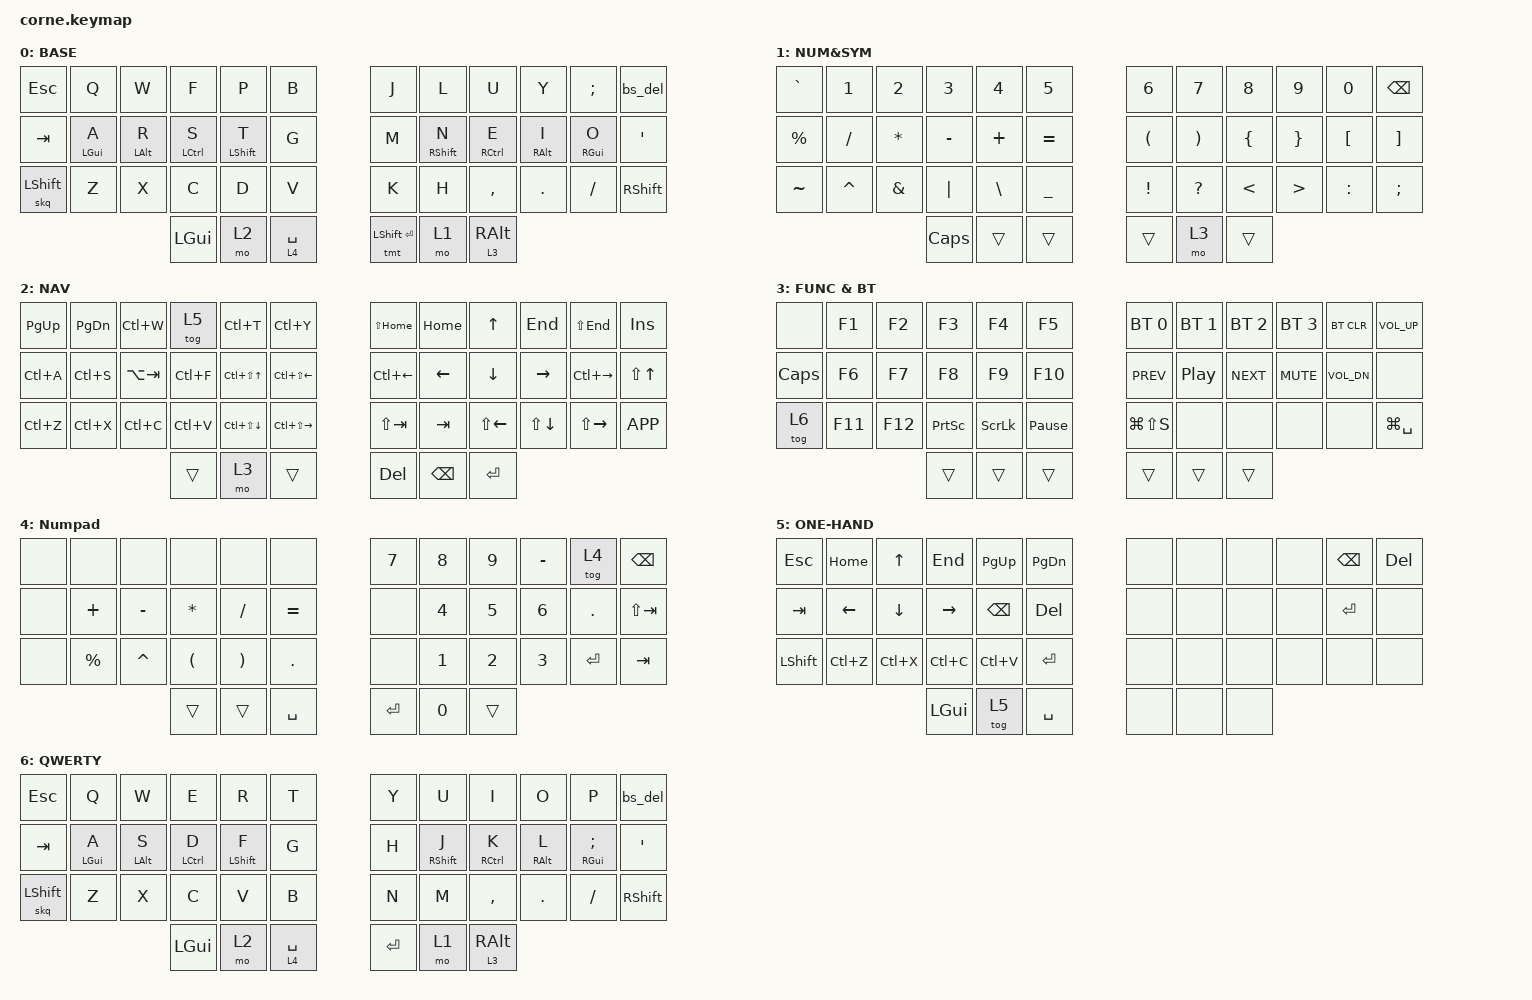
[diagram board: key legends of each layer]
/*
 * ============================================================
 * Corne (CRKBD) Keymap - Productivity & Development Optimized
 * ============================================================
 * Hardware: nice!nano v2 + nice!view
 * OS: Windows
 * Use Cases: Gmail (shortcuts mode), Google Sheets, Adobe Acrobat, VS Code (Python/C++)
 * Features: Home Row Mods, One-handed navigation, App-specific shortcuts
 *
 * Author Notes:
 * - Space on LEFT thumb for comfort
 * - Base layer: Colemak-DH | Toggle QWERTY: FN + bottom-left
 * - Home row mods: GACS order (GUI/Alt/Ctrl/Shift)
 * - Timing tuned for urob helper pattern
 */

#include <behaviors.dtsi>
#include <dt-bindings/zmk/bt.h>
#include <dt-bindings/zmk/keys.h>

#include "zmk-helpers/helper.h"
#include "zmk-helpers/key-labels/42.h"

/* ──────────────────────────────────────────────────────────────
 * Global timing settings
 * ────────────────────────────────────────────────────────────── */
#define QUICK_TAP_MS 175

/* ──────────────────────────────────────────────────────────────
 * Home Row Mod definitions using ZMK_BEHAVIOR
 *
 * Two flavors:
 *   hml = left-hand HRM  (hold-preferred for same-hand combos)
 *   hmr = right-hand HRM
 *
 * hold-trigger-key-positions restricts accidental activation:
 *   left HRMs only trigger mods when right-hand keys are pressed,
 *   and vice versa.
 * ────────────────────────────────────────────────────────────── */

// Left-hand keys (for right HRMs to reference)
#define KEYS_L LT0 LT1 LT2 LT3 LT4 LT5 \
               LM0 LM1 LM2 LM3 LM4 LM5 \
               LB0 LB1 LB2 LB3 LB4 LB5

// Right-hand keys (for left HRMs to reference)
#define KEYS_R RT0 RT1 RT2 RT3 RT4 RT5 \
               RM0 RM1 RM2 RM3 RM4 RM5 \
               RB0 RB1 RB2 RB3 RB4 RB5

// Thumb keys
#define THUMBS LH2 LH1 LH0 RH0 RH1 RH2

ZMK_BEHAVIOR(hml, hold_tap,
    flavor = "balanced";
    tapping-term-ms = <280>;
    quick-tap-ms = <QUICK_TAP_MS>;
    require-prior-idle-ms = <150>;
    bindings = <&kp>, <&kp>;
    hold-trigger-key-positions = <KEYS_R THUMBS>;
    hold-trigger-on-release;
)

ZMK_BEHAVIOR(hmr, hold_tap,
    flavor = "balanced";
    tapping-term-ms = <280>;
    quick-tap-ms = <QUICK_TAP_MS>;
    require-prior-idle-ms = <150>;
    bindings = <&kp>, <&kp>;
    hold-trigger-key-positions = <KEYS_L THUMBS>;
    hold-trigger-on-release;
)

/* ──────────────────────────────────────────────────────────────
 * Thumb mod-tap (Shift/Enter)
 *
 * Plain &mt defaults to hold-preferred @200ms, which fires the mod
 * on any key pressed during the hold — the cause of accidental
 * Shifts when rolling Enter into the next key. "balanced" only
 * holds when the other key is also released during the hold, so
 * quick rolls register as a tap (Enter). No positional restriction:
 * thumbs don't suffer same-hand rolls the way home-row mods do.
 * ────────────────────────────────────────────────────────────── */
ZMK_BEHAVIOR(tmt, hold_tap,
    flavor = "balanced";
    tapping-term-ms = <200>;
    quick-tap-ms = <QUICK_TAP_MS>;
    bindings = <&kp>, <&kp>;
)

/* ──────────────────────────────────────────────────────────────
 * Sticky Shift (Caps Word helper)
 * ────────────────────────────────────────────────────────────── */
ZMK_BEHAVIOR(skq, sticky_key,
    bindings = <&kp>;
    release-after-ms = <1000>;
    quick-release;
)

/* ──────────────────────────────────────────────────────────────
 * Mod-morphs
 *
 * bs_del: Backspace, but Delete when either Shift is held.
 *         Shift+Backspace is otherwise unused, so this is a free win.
 * ────────────────────────────────────────────────────────────── */
ZMK_BEHAVIOR(bs_del, mod_morph,
    bindings = <&kp BSPC>, <&kp DEL>;
    mods = <(MOD_LSFT|MOD_RSFT)>;
)

/* ──────────────────────────────────────────────────────────────
 * Combos
 *
 * Brackets without leaving the base layer. Mnemonic: opener on the
 * LEFT hand, closer on the RIGHT hand, mirrored positions.
 *   ( )  home row inner   |  { }  top row   |  [ ]  bottom row
 *
 * timeout 40ms + require-prior-idle 150ms keep these from firing on
 * fast letter rolls (e.g. "rs", "ei"). Loosen the 40 if a combo is
 * hard to trigger; tighten it if you get accidental brackets.
 * ────────────────────────────────────────────────────────────── */
ZMK_COMBO(combo_esc,       &kp ESC,         LT1 LT2,     0)
ZMK_COMBO(combo_tab,       &kp TAB,         LT2 LT3,     0)
ZMK_COMBO(combo_caps_word, &caps_word,      LM3 RM3,     0)
ZMK_COMBO(combo_del,       &kp DEL,         RT3 RT4,     0)
ZMK_COMBO(combo_screenshot, &kp LG(LS(S)),  LB3 LB4,     0)

/* Brackets — opener (left hand) / closer (right hand) */
ZMK_COMBO(combo_lpar, &kp LPAR,  LM2 LM3,  0, 40, 150)   // R + S
ZMK_COMBO(combo_rpar, &kp RPAR,  RM3 RM2,  0, 40, 150)   // E + I
ZMK_COMBO(combo_lbrc, &kp LBRC,  LT3 LT4,  0, 40, 150)   // F + P
ZMK_COMBO(combo_rbrc, &kp RBRC,  RT2 RT3,  0, 40, 150)   // Y + U
ZMK_COMBO(combo_lbkt, &kp LBKT,  LB2 LB3,  0, 40, 150)   // X + C
ZMK_COMBO(combo_rbkt, &kp RBKT,  RB2 RB3,  0, 40, 150)   // . + ,

/ {
    behaviors {
        lt: layer_tap {
            compatible = "zmk,behavior-hold-tap";
            #binding-cells = <2>;
            flavor = "balanced";
            tapping-term-ms = <200>;
            quick-tap-ms = <175>;
            require-prior-idle-ms = <150>;
            bindings = <&mo>, <&kp>;
        };
    };

    keymap {
        compatible = "zmk,keymap";

        /*
         * ================================================================
         * LAYER 0: BASE (Colemak-DH with Home Row Mods)
         * ================================================================
         * Home row mods (GACS):
         *   Left:  A=GUI  R=Alt  S=Ctrl  T=Shift
         *   Right: N=Shift  E=Ctrl  I=Alt  O=GUI
         */
        base_layer {
            label = "BASE";
            bindings = <
&kp ESC    &kp Q         &kp W         &kp F          &kp P          &kp B          &kp J    &kp L          &kp U          &kp Y         &kp SEMI       &bs_del
&kp TAB    &hml LGUI A   &hml LALT R   &hml LCTRL S   &hml LSHFT T   &kp G          &kp M    &hmr RSHFT N   &hmr RCTRL E   &hmr RALT I   &hmr RGUI O    &kp SQT
&skq LSHFT &kp Z         &kp X         &kp C          &kp D          &kp V          &kp K    &kp H          &kp COMMA      &kp DOT       &kp FSLH       &kp RSHFT
                                       &kp LEFT_GUI   &mo 2          &lt 4 SPACE    &tmt LSHIFT RET &mo 1          &lt 3 RALT
            >;
        };

        /*
         * ================================================================
         * LAYER 1: NUM & SYMBOLS
         * ================================================================
         */
        NUM_SYMB {
            label = "NUM&SYM";
            bindings = <
&kp GRAVE     &kp N1           &kp N2    &kp N3    &kp N4     &kp N5               &kp N6     &kp N7                &kp N8                 &kp N9           &kp N0     &kp BSPC
&kp PERCENT   &kp FSLH         &kp ASTERISK  &kp MINUS  &kp PLUS   &kp EQUAL           &kp LEFT_PARENTHESIS  &kp RIGHT_PARENTHESIS  &kp LEFT_BRACE  &kp RIGHT_BRACE  &kp LBKT   &kp RBKT
&kp TILDE     &kp CARET        &kp AMPS      &kp PIPE   &kp BSLH   &kp UNDER           &kp EXCLAMATION       &kp QUESTION           &kp LESS_THAN   &kp GREATER_THAN &kp COLON  &kp SEMICOLON
                                         &kp CAPS &trans     &trans               &trans     &mo 3                 &trans
            >;
        };

        /*
         * ================================================================
         * LAYER 2: NAV
         * ================================================================
         */
        NAV {
            label = "NAV";
            bindings = <
&kp PAGE_UP  &kp PAGE_DOWN  &kp LC(W)  &tog 5    &kp LC(T)  &kp LC(Y)    &kp LS(HOME)  &kp HOME       &kp UP_ARROW  &kp END       &kp LS(END)    &kp INS
&kp LC(A)    &kp LC(S)      &kp LA(TAB)  &kp LC(F)  &kp LC(LS(UP_ARROW))    &kp LC(LS(LEFT))     &kp LC(LEFT)  &kp LEFT       &kp DOWN      &kp RIGHT     &kp LC(RIGHT)  &kp LS(UP_ARROW)
&kp LC(Z)    &kp LC(X)      &kp LC(C)  &kp LC(V)  &kp LC(LS(DOWN_ARROW))  &kp LC(LS(RIGHT))    &kp LS(TAB)   &kp TAB        &kp LS(LEFT)  &kp LS(DOWN)  &kp LS(RIGHT)  &kp K_APP
                                       &trans     &mo 3      &trans       &kp DEL       &kp BACKSPACE  &kp ENTER
            >;
        };

        /*
         * ================================================================
         * LAYER 3: FN & BT
         * ================================================================
         */
        FN_BT {
            label = "FUNC & BT";
            bindings = <
&none  &kp F1   &kp F2   &kp F3           &kp F4          &kp F5             &bt BT_SEL 0  &bt BT_SEL 1      &bt BT_SEL 2  &bt BT_SEL 3  &bt BT_CLR    &kp C_VOLUME_UP
&kp CAPS  &kp F6   &kp F7   &kp F8           &kp F9          &kp F10            &kp C_PREV    &kp C_PLAY_PAUSE  &kp C_NEXT    &kp C_MUTE    &kp C_VOL_DN  &none
&tog 6 &kp F11  &kp F12  &kp PRINTSCREEN  &kp SCROLLLOCK  &kp PAUSE_BREAK    &kp LG(LS(S)) &none            &none         &none         &none          &kp LG(SPACE)
                          &trans           &trans          &trans             &trans        &trans            &trans
            >;
        };

        /*
         * ================================================================
         * LAYER 4: NUMPAD
         * ================================================================
         */
        Numpad {
            label = "Numpad";
            bindings = <
&none  &none        &none      &none                 &none                  &none         &kp N7     &kp N8  &kp N9  &kp MINUS &tog 4   &kp BSPC
&none  &kp PLUS     &kp MINUS  &kp STAR              &kp FSLH               &kp EQUAL     &none      &kp N4  &kp N5  &kp N6    &kp DOT  &kp LS(TAB)
&none  &kp PERCENT  &kp CARET  &kp LEFT_PARENTHESIS  &kp RIGHT_PARENTHESIS  &kp PERIOD    &none      &kp N1  &kp N2  &kp N3    &kp RET  &kp TAB
                                &trans                &trans                 &kp SPACE     &kp ENTER  &kp N0  &trans
            >;
        };

        /*
         * ================================================================
         * LAYER 5: ONE-HAND (toggle — right hand on mouse)
         * ================================================================
         * Activate: NAV + R  |  Exit: middle thumb (tog 5)
         *
         *   Row 1:  ESC   Home  Up    End   PgUp  PgDn
         *   Row 2:  Tab   Left  Down  Right Bspc  Del
         *   Row 3:  Shft  C-z   C-x   C-c   C-v   Ent
         *   Thumb:  GUI  [exit] Spc
         */
        ONE_HAND {
            label = "ONE-HAND";
            bindings = <
&kp ESC    &kp HOME   &kp UP     &kp END    &kp PG_UP  &kp PG_DN    &none  &none  &none  &none  &kp BSPC  &kp DEL
&kp TAB    &kp LEFT   &kp DOWN   &kp RIGHT  &kp BSPC   &kp DEL      &none  &none  &none  &none  &kp RET   &none
&kp LSHFT  &kp LC(Z)  &kp LC(X)  &kp LC(C)  &kp LC(V)  &kp RET      &none  &none  &none  &none  &none     &none
                                  &kp LGUI   &tog 5     &kp SPACE    &none  &none  &none
            >;
        };

        /*
         * ================================================================
         * LAYER 6: QWERTY (toggle — FN + bottom-left key)
         * ================================================================
         * Home row mods (GACS):
         *   Left:  A=GUI  S=Alt  D=Ctrl  F=Shift
         *   Right: J=Shift  K=Ctrl  L=Alt  ;=GUI
         */
        QWERTY {
            label = "QWERTY";
            bindings = <
&kp ESC    &kp Q         &kp W         &kp E          &kp R          &kp T          &kp Y    &kp U          &kp I          &kp O         &kp P          &bs_del
&kp TAB    &hml LGUI A   &hml LALT S   &hml LCTRL D   &hml LSHFT F   &kp G          &kp H    &hmr RSHFT J   &hmr RCTRL K   &hmr RALT L   &hmr RGUI SEMI &kp SQT
&skq LSHFT &kp Z         &kp X         &kp C          &kp V          &kp B          &kp N    &kp M          &kp COMMA      &kp DOT       &kp FSLH       &kp RSHFT
                                       &kp LEFT_GUI   &mo 2          &lt 4 SPACE    &kp RET  &mo 1          &lt 3 RALT
            >;
        };

    };
};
